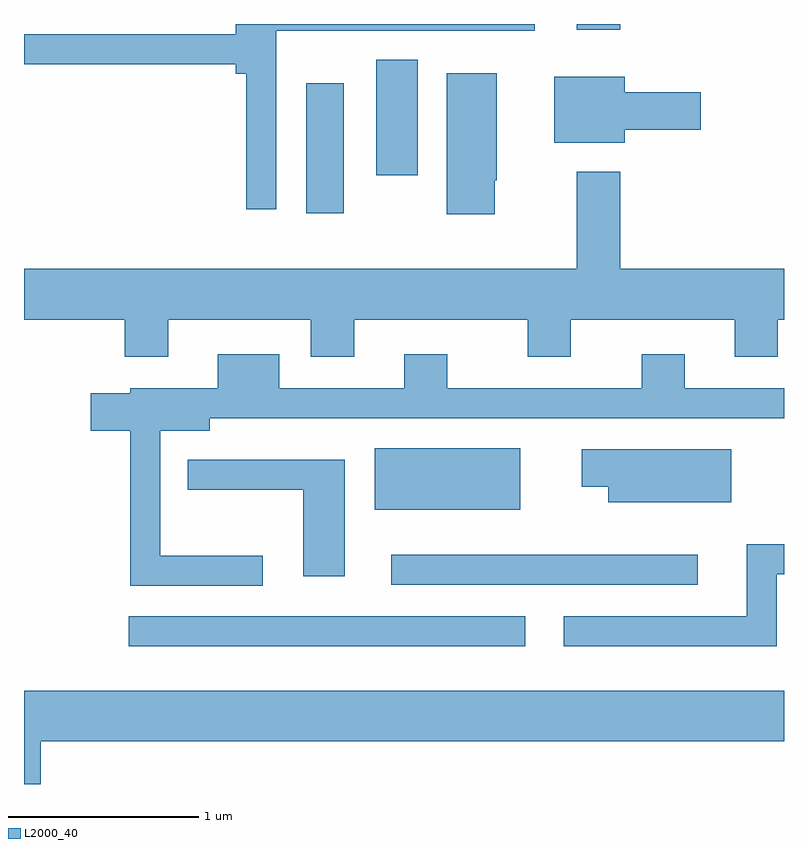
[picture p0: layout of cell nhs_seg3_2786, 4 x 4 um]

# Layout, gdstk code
import gdstk
lib = gdstk.Library(unit=1e-6, precision=1e-09)
def R(c, l, rs):  # rectangles x0, y0, x1, y1
    for r in rs: c.add(gdstk.rectangle(r[:2], r[2:], *l))
def P(c, l, *ps):  # polygons
    for p in ps: c.add(gdstk.Polygon(p, *l))
L2000_40 = (2000, 40)

nhs_seg3_2786 = lib.new_cell('nhs_seg3_2786')
R(nhs_seg3_2786, L2000_40, [(266.163,1248.616,268.248,1248.774), (267.543,1248.941,269.158,1249.099), (267.456,1249.336,268.224,1249.659), (267.096,1250.896,267.294,1251.579), (267.466,1251.096,267.684,1251.704), (268.521,1251.861,268.749,1251.892)])
P(nhs_seg3_2786, L2000_40, [(266.939,1251.856),(268.298,1251.856),(268.298,1251.892),(266.726,1251.892),(266.726,1251.839),(265.611,1251.839),(265.611,1251.681),(266.726,1251.681),(266.726,1251.631),(266.781,1251.631),(266.781,1250.918),(266.939,1250.918)],
  [(268.089,1251.07),(268.099,1251.07),(268.099,1251.634),(267.836,1251.634),(267.836,1250.891),(268.089,1250.891)],
  [(268.774,1251.336),(269.174,1251.336),(269.174,1251.534),(268.774,1251.534),(268.774,1251.614),(268.401,1251.614),(268.401,1251.266),(268.774,1251.266)],
  [(266.369,1250.336),(267.121,1250.336),(267.121,1250.141),(267.349,1250.141),(267.349,1250.336),(268.261,1250.336),(268.261,1250.141),(268.489,1250.141),(268.489,1250.336),(269.351,1250.336),(269.351,1250.141),(269.579,1250.141),(269.579,1250.336),(269.611,1250.336),(269.611,1250.604),(268.749,1250.604),(268.749,1251.114),(268.521,1251.114),(268.521,1250.604),(265.611,1250.604),(265.611,1250.336),(266.141,1250.336),(266.141,1250.141),(266.369,1250.141)],
  [(266.868,1249.094),(266.329,1249.094),(266.329,1249.751),(266.589,1249.751),(266.589,1249.816),(269.611,1249.816),(269.611,1249.974),(269.089,1249.974),(269.089,1250.154),(268.861,1250.154),(268.861,1249.974),(267.839,1249.974),(267.839,1250.154),(267.611,1250.154),(267.611,1249.974),(266.954,1249.974),(266.954,1250.154),(266.631,1250.154),(266.631,1249.974),(266.171,1249.974),(266.171,1249.949),(265.961,1249.949),(265.961,1249.751),(266.171,1249.751),(266.171,1248.936),(266.868,1248.936)],
  [(269.334,1249.654),(268.546,1249.654),(268.546,1249.456),(268.686,1249.456),(268.686,1249.376),(269.334,1249.376)],
  [(267.299,1249.599),(266.473,1249.599),(266.473,1249.441),(267.081,1249.441),(267.081,1248.986),(267.299,1248.986)],
  [(269.574,1248.996),(269.611,1248.996),(269.611,1249.154),(269.416,1249.154),(269.416,1248.774),(268.453,1248.774),(268.453,1248.616),(269.574,1248.616)],
  [(265.699,1248.116),(269.611,1248.116),(269.611,1248.384),(265.611,1248.384),(265.611,1247.892),(265.699,1247.892)])

lib.write_gds('nhs_seg3_2786.gds')
